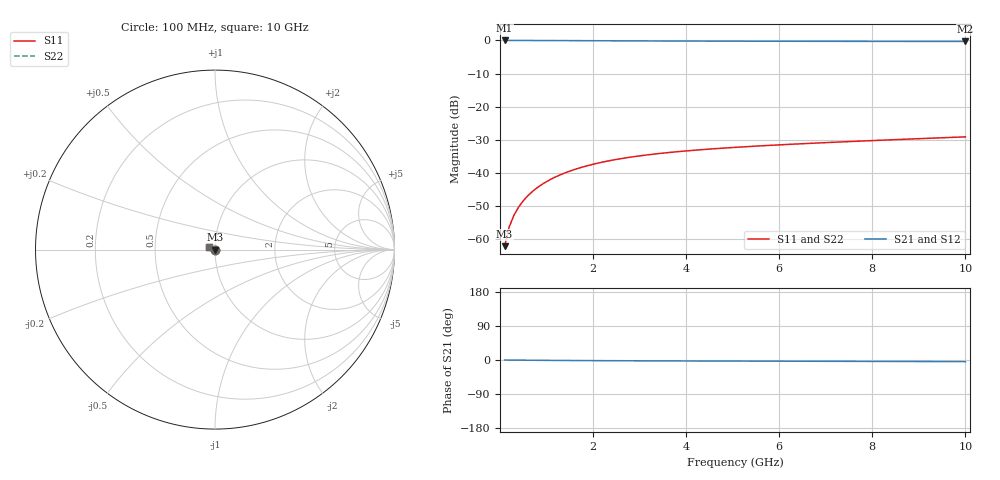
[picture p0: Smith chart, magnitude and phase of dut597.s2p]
! Touchstone file exported from HFSS 2024.1.0
!  File:  C:/UserFiles/LocalFiles/RDL_TSV_Batchsim/temp_TSV1_597_1779710717.aedt
!  Generated:  08:12:45 PM May 25, 2026
!  Design:  TSV1
!  Project:  temp_TSV1_597_1779710717
!  Setup:  Setup1
!  Solution:  Sweep
! Variables:
!  dtsv = 8.6um
!  hbump = 3um
!  htsv = 62.18um
!  lrdl = 252.1521522um
!  p = 40
!  p1 = 57.33um
!  t = 500um
!  trdl = 3um
!  wrdl = 24.89489489um
# GHz S MA R 50.000000
! Terminal data exported
! Port[1] = TSV22_T1
! Port[2] = TSV22_T2
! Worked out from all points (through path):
!   100 points, 100 MHz to 10 GHz, reference 50 ohm
!   highest |S21| = 0.00 dB at 100 MHz (marker M1); lowest = -0.3 dB at 10 GHz (marker M2)
!   lowest |S11| = -62.2 dB at 100 MHz (marker M3), VSWR 1.00, Z = 50 - j0.0763 ohm
!   |S11| at or under -10 dB: start of sweep to end of sweep
!   |S22| runs from -62.2 to -29.2 dB; largest |S21 - S12| = 3.1e-15
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0.1  0.0007754 -79.7  0.9998 -0.1  0.9998 -0.1  0.0007754 -79.7
! Gamma 0 0 0 0
! Port Impedance 50 0 50 0
0.2  0.001522 -88.2  0.9997 -0.2  0.9997 -0.2  0.001522 -88.2
0.3  0.002271 -92.6  0.9995 -0.3  0.9995 -0.3  0.002271 -92.6
0.4  0.003018 -95.9  0.9993 -0.4  0.9993 -0.4  0.003018 -95.9
0.5  0.003759 -98.7  0.999 -0.5  0.999 -0.5  0.003759 -98.7
0.6  0.004493 -101.4  0.9987 -0.6  0.9987 -0.6  0.004493 -101.4
0.7  0.005219 -103.9  0.9983 -0.7  0.9983 -0.7  0.005219 -103.9
0.8  0.005935 -106.3  0.9979 -0.8  0.9979 -0.8  0.005935 -106.3
0.9  0.00664 -108.6  0.9974 -0.8  0.9974 -0.8  0.00664 -108.6
1.1  0.008011 -113.1  0.9964 -1.0  0.9964 -1.0  0.008011 -113.1
1.4  0.009961 -119.4  0.9946 -1.2  0.9946 -1.2  0.009961 -119.4
1.6  0.01118 -123.5  0.9933 -1.4  0.9933 -1.4  0.01118 -123.5
1.8  0.01234 -127.3  0.992 -1.5  0.992 -1.5  0.01234 -127.3
2.1  0.01395 -132.8  0.9899 -1.7  0.9899 -1.7  0.01395 -132.8
2.5  0.01588 -139.7  0.9873 -1.9  0.9873 -1.9  0.01588 -139.7
2.9  0.01758 -146.0  0.9848 -2.1  0.9848 -2.1  0.01758 -146.0
3.4  0.01944 -153.2  0.9819 -2.3  0.9819 -2.3  0.01944 -153.2
4.2  0.02194 -163.3  0.9781 -2.6  0.9781 -2.6  0.02194 -163.3
5.1  0.0243 -172.9  0.9748 -2.9  0.9748 -2.9  0.0243 -172.9
6.7  0.02789 173.1  0.9707 -3.3  0.9707 -3.3  0.02789 173.1
8.4  0.03145 161.5  0.9678 -3.8  0.9678 -3.8  0.03145 161.5
10  0.03485 152.7  0.966 -4.3  0.966 -4.3  0.03485 152.7
